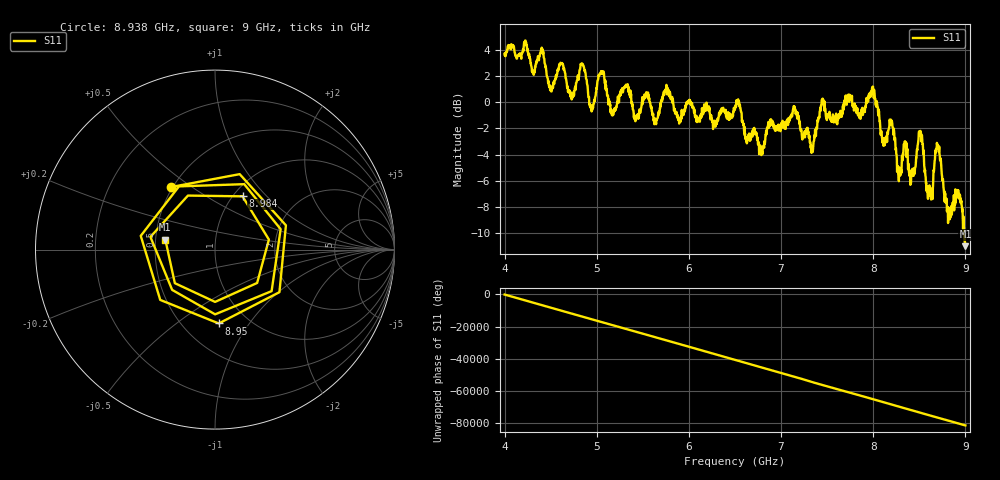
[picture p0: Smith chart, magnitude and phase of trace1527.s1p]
! Created with skrf 1.8.0 (http://scikit-rf.org).
# Hz S RI R 50.0
!freq ReS11 ImS11
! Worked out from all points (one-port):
!   1601 points, 4 GHz to 9 GHz, reference 50 ohm
!   lowest |S11| = -11.0 dB at 9 GHz (marker M1), VSWR 1.79, Z = 28.2 + j3.39 ohm
!   |S11| at or under -10 dB: 8.98645 GHz to end of sweep
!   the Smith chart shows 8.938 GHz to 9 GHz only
!   S11 on the Smith chart (normalised r, x): 8.938 GHz: 0.49, +0.41; 8.95 GHz: 0.74, -0.73; 8.984 GHz: 1.10, +0.74; 9 GHz: 0.56, +0.07
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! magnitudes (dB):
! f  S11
! 4 GHz  3.7
! 4.406 GHz  3.9
! 4.503 GHz  1.0
! 4.625 GHz  2.9
! 4.731 GHz  0.6
! 4.85 GHz  2.8
! 4.944 GHz  -0.7
! 5.053 GHz  2.3
! 5.169 GHz  -1.0
! 5.25 GHz  0.6
! 5.875 GHz  -1.2
! 6.5 GHz  -0.5
! 6.788 GHz  -3.9
! 7.125 GHz  -0.8
! 7.338 GHz  -3.8
! 7.447 GHz  0.1
! 7.75 GHz  0.5
! 7.997 GHz  1.2
! 8.281 GHz  -5.0
! 8.375 GHz  -4.4
! 8.512 GHz  -2.2
! 8.603 GHz  -6.9
! 8.697 GHz  -3.4
! 8.812 GHz  -9.2
! 8.938 GHz  -7.4
! 8.95 GHz  -7.7
! 8.984 GHz  -9.5
! 9 GHz  -11.0
